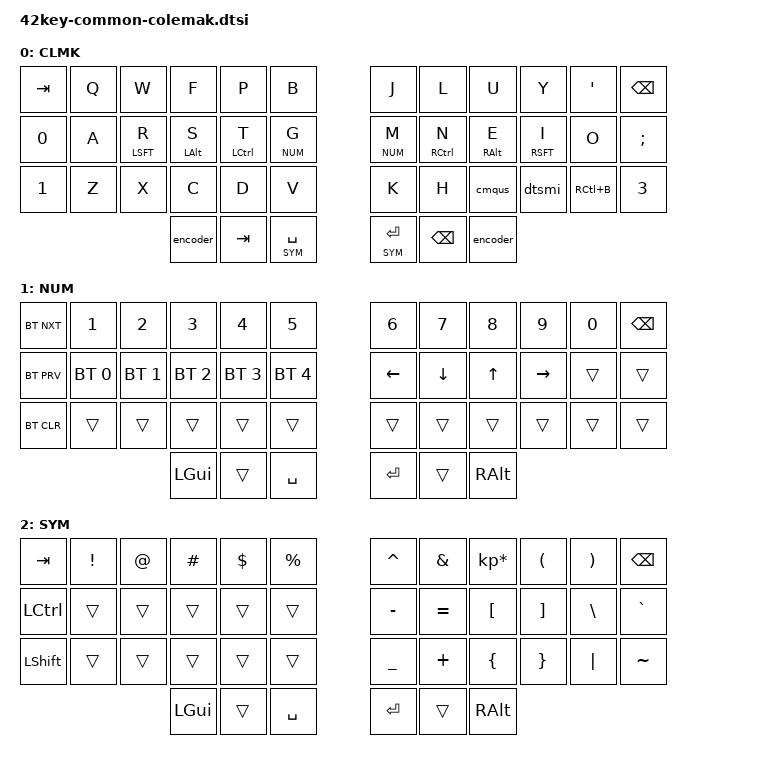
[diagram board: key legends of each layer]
#define DEFAULT 0
#define NUM     1
#define SYM     2

#include "key-common.dtsi"

&mt {
   flavor = "tap-preferred";
   tapping_term_ms = <200>;
};

/ {
    keymap {
        compatible = "zmk,keymap";

        default_layer {
            label = "CLMK";
// -----------------------------------------------------------------------------------------
// |  TAB |  Q  |  W  |  F  |  P  |  B  |   |  J  |  L   |  U  |  Y  |  '   | BKSP |
// | CTRL |  A  |  R  |  S  |  T  |  G  |   |  M  |  N   |  E  |  I  |  O  |  ;   |
// | SHFT |  Z  |  X  |  C  |  D  |  V  |   |  K  |  H   |  ,  |  .  |  /  | ESC  |
//                    | GUI | TAB | SPC |   | ENT | BKSP | ALT |
                        bindings = <
   &kp TAB   &kp Q &kp W &kp F &kp P &kp B   &kp J &kp L  &kp U     &kp Y   &kp SQT    &kp BSPC
   &kp N0    &kp A &mt LSFT R &mt LALT S &mt LCTL T &lt NUM G    &lt NUM M &mt RCTL N &mt RALT E &mt RSFT I &kp O &kp SEMI
   &kp N1    &kp Z &kp X &kp C &kp D &kp V   &kp K &kp H  &cmqus &dtsmi &kp RC(B) &kp N3
             &encoder     &kp TAB    &lt SYM SPACE       &lt SYM RET   &kp BSPC   &encoder
                        >;
                };

        num_layer {
              label = "NUM";
// -----------------------------------------------------------------------------------------
// |  TAB |  1  |  2  |  3  |  4  |  5  |   |  6  |  7  |  8  |  9  |  0  | BKSP |
// | BTCLR| BT1 | BT2 | BT3 | BT4 | BT5 |   | LFT | DWN |  UP | RGT |     |      |
// | SHFT |     |     |     |     |     |   |     |     |     |     |     |      |
//                    | GUI |     | SPC |   | ENT |     | ALT |
                        bindings = <
   &bt BT_NXT    &kp N1       &kp N2       &kp N3       &kp N4       &kp N5         &kp N6   &kp N7   &kp N8 &kp N9    &kp N0 &kp BSPC
   &bt BT_PRV  &bt BT_SEL 0 &bt BT_SEL 1 &bt BT_SEL 2 &bt BT_SEL 3 &bt BT_SEL 4   &kp LEFT &kp DOWN &kp UP &kp RIGHT &trans &trans
   &bt BT_CLR  &trans       &trans       &trans       &trans       &trans         &trans   &trans   &trans &trans    &trans &trans
                          	        &kp LGUI     &trans       &kp SPACE      &kp RET  &trans   &kp RALT
                        >;
                };

                sym_layer {
                        label = "SYM";
// -----------------------------------------------------------------------------------------
// |  TAB |  !  |  @  |  #  |  $  |  %  |   |  ^  |  &  |  *  |  (  |  )  | BKSP |
// | CTRL |     |     |     |     |     |   |  -  |  =  |  [  |  ]  |  \  |  `   |
// | SHFT |     |     |     |     |     |   |  _  |  +  |  {  |  }  | "|" |  ~   |
//                    | GUI |     | SPC |   | ENT |     | ALT |
                        bindings = <
   &kp  TAB  &kp EXCL &kp AT &kp HASH &kp DLLR &kp PRCNT   &kp CARET &kp AMPS  &kp KP_MULTIPLY &kp LPAR &kp RPAR &kp BSPC
   &kp LCTRL &trans   &trans &trans   &trans   &trans      &kp MINUS &kp EQUAL &kp LBKT        &kp RBKT &kp BSLH &kp GRAVE
   &kp LSHFT &trans   &trans &trans   &trans   &trans      &kp UNDER &kp PLUS  &kp LBRC        &kp RBRC &kp PIPE &kp TILDE
                    	     &kp LGUI &trans   &kp SPACE   &kp RET   &trans    &kp RALT
                        >;
                };
        };
};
